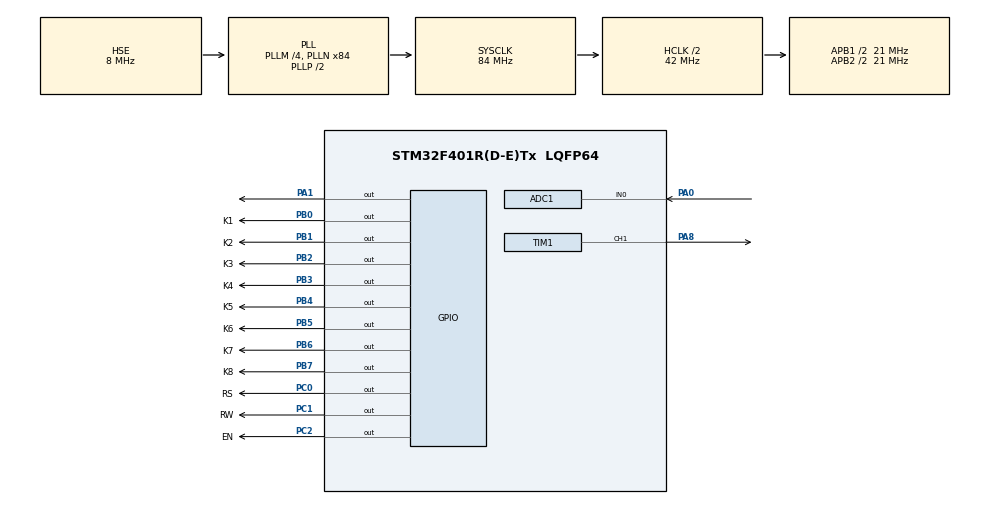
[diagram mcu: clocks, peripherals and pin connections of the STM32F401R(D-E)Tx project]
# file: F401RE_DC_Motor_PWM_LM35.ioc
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ADC1.Channel-0\#ChannelRegularConversion=ADC_CHANNEL_0
ADC1.ClockPrescaler=ADC_CLOCK_SYNC_PCLK_DIV4
ADC1.NbrOfConversionFlag=1
ADC1.Rank-0\#ChannelRegularConversion=1
ADC1.SamplingTime-0\#ChannelRegularConversion=ADC_SAMPLETIME_3CYCLES
ADC1.master=1
Mcu.Family=STM32F4
Mcu.Name=STM32F401R(D-E)Tx
Mcu.Package=LQFP64
NVIC.PriorityGroup=NVIC_PRIORITYGROUP_0
PA0-WKUP.Signal=ADCx_IN0
PA1.Signal=GPIO_Output
PA13.Mode=Serial_Wire
PA13.Signal=SYS_JTMS-SWDIO
PA14.Mode=Serial_Wire
PA14.Signal=SYS_JTCK-SWCLK
PA8.Signal=S_TIM1_CH1
PB0.GPIO_Label=K1
PB0.Signal=GPIO_Output
PB1.GPIO_Label=K2
PB1.Signal=GPIO_Output
PB2.GPIO_Label=K3
PB2.Signal=GPIO_Output
PB3.GPIO_Label=K4
PB3.Signal=GPIO_Output
PB4.GPIO_Label=K5
PB4.Signal=GPIO_Output
PB5.GPIO_Label=K6
PB5.Signal=GPIO_Output
PB6.GPIO_Label=K7
PB6.Signal=GPIO_Output
PB7.GPIO_Label=K8
PB7.Signal=GPIO_Output
PC0.GPIO_Label=RS
PC0.Signal=GPIO_Output
PC1.GPIO_Label=RW
PC1.Signal=GPIO_Output
PC2.GPIO_Label=EN
PC2.Signal=GPIO_Output
PH0\ -\ OSC_IN.Mode=HSE-External-Oscillator
PH0\ -\ OSC_IN.Signal=RCC_OSC_IN
PH1\ -\ OSC_OUT.Mode=HSE-External-Oscillator
PH1\ -\ OSC_OUT.Signal=RCC_OSC_OUT
ProjectManager.HeapSize=0x200
ProjectManager.StackSize=0x400
ProjectManager.TargetToolchain=STM32CubeIDE
RCC.48MHZClocksFreq_Value=24000000
RCC.AHBCLKDivider=RCC_SYSCLK_DIV2
RCC.AHBFreq_Value=42000000
RCC.APB1CLKDivider=RCC_HCLK_DIV2
RCC.APB1Freq_Value=21000000
RCC.APB1TimFreq_Value=42000000
RCC.APB2CLKDivider=RCC_HCLK_DIV2
RCC.APB2Freq_Value=21000000
RCC.APB2TimFreq_Value=42000000
RCC.CortexFreq_Value=42000000
RCC.HCLKFreq_Value=42000000
RCC.HSE_VALUE=8000000
RCC.HSI_VALUE=16000000
RCC.LSE_VALUE=32768
RCC.PLLM=4
RCC.PLLN=84
RCC.PLLQ=7
RCC.PLLSourceVirtual=RCC_PLLSOURCE_HSE
RCC.SYSCLKFreq_VALUE=84000000
RCC.SYSCLKSource=RCC_SYSCLKSOURCE_PLLCLK
RCC.VCOOutputFreq_Value=168000000
SH.ADCx_IN0.0=ADC1_IN0,IN0
SH.S_TIM1_CH1.0=TIM1_CH1,PWM Generation1 CH1
TIM1.Channel-PWM\ Generation1\ CH1=TIM_CHANNEL_1
TIM1.OCFastMode_PWM-PWM\ Generation1\ CH1=TIM_OCFAST_DISABLE
TIM1.OCPolarity_1=TIM_OCPOLARITY_LOW
TIM1.Period=50000-1
TIM1.Prescaler=42-1
VP_TIM1_VS_ClockSourceINT.Mode=Internal
board=NUCLEO-F401RE

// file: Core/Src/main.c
/* USER CODE BEGIN Header */
/**
  ******************************************************************************
  * @file           : main.c
  * @brief          : Main program body
  ******************************************************************************
  * @attention
  *
  * Copyright (c) 2025 STMicroelectronics.
  * All rights reserved.
  *
  * This software is licensed under terms that can be found in the LICENSE file
  * in the root directory of this software component.
  * If no LICENSE file comes with this software, it is provided AS-IS.
  *
  ******************************************************************************
  */
/* USER CODE END Header */
#include "main.h"

/* USER CODE BEGIN Includes */

#include "stdio.h"

/* USER CODE END Includes */

ADC_HandleTypeDef hadc1;

TIM_HandleTypeDef htim1;

/* USER CODE BEGIN PV */

uint8_t Pin[] = {K1_Pin,K2_Pin,K3_Pin,K4_Pin,K5_Pin,K6_Pin,K7_Pin,K8_Pin};

int i = 0;
int j = 0;

uint16_t ADC_Value = 0;

char Temp[10];

uint16_t T;

float speed ;

/* USER CODE END PV */

void SystemClock_Config(void);
static void MX_GPIO_Init(void);
static void MX_ADC1_Init(void);
static void MX_TIM1_Init(void);
/* USER CODE BEGIN PFP */

void Data_Write(uint8_t data);
void LCD_Command(uint8_t command);
void LCD_Data(uint8_t data);
void LCD_Initialize();
void LCD_Location(uint8_t Row,uint8_t Col);
void LCD_String(const char*ptr);

/* USER CODE END PFP */

int main(void)
{

  /* MCU Configuration--------------------------------------------------------*/

  /* Reset of all peripherals, Initializes the Flash interface and the Systick. */
  HAL_Init();

  /* Configure the system clock */
  SystemClock_Config();

  /* Initialize all configured peripherals */
  MX_GPIO_Init();
  MX_ADC1_Init();
  MX_TIM1_Init();
  /* USER CODE BEGIN 2 */

  LCD_Initialize();

	  LCD_Location(1,0);
	  LCD_String("Temp =      ");
	  LCD_Location(1,14);
	  LCD_Data(0xDF);
	  LCD_Location(1,15);
	  LCD_Data('C');

  HAL_GPIO_WritePin(GPIOA, GPIO_PIN_1, SET);

  void Motor_Speed(float Duty_Cycle)
  {
	  HAL_TIM_PWM_Start(&htim1,TIM_CHANNEL_1);
	  __HAL_TIM_SET_COMPARE(&htim1,TIM_CHANNEL_1 ,Duty_Cycle * __HAL_TIM_GET_AUTORELOAD(&htim1));
  }

  /* USER CODE END 2 */

  /* Infinite loop */
  /* USER CODE BEGIN WHILE */
  while (1)
  {

	 HAL_ADC_Start(&hadc1);
		  if(HAL_ADC_PollForConversion(&hadc1, HAL_MAX_DELAY)==HAL_OK)
		  {
			  ADC_Value=(HAL_ADC_GetValue(&hadc1) * 3.33333);
		  }
	 HAL_ADC_Stop(&hadc1);

		  T = (ADC_Value * 0.03663);  //SCALED READING FROM 0 TO 150 C (150/4095 = 0.03663)
		  sprintf(Temp,"%03d", T);
				  LCD_Location(1,11);
				  LCD_String(Temp);

	if(T<30)
	{
		speed = 0;
		LCD_Location(2,0);
		LCD_String("                ");
	}
	else if (T>=30 && T < 35)
	{
		speed = 0.25 ;
		LCD_Location(2,0);
	    LCD_String("  Temp Intact.  ");
	}
	else if (T>=35 && T < 40)
	{
		speed = 0.5 ;
		LCD_Location(2,0);
		LCD_String("  Temp   High.  ");
	}
	else if (T>=40 && T < 45)
	{
		speed = 0.75 ;
		LCD_Location(2,0);
	    LCD_String("  Temp   High.  ");
	}
	else if (T >= 45)
	{
		speed = 0.8;
	 	LCD_Location(2,0);
	 	LCD_String(" Temp too High. ");
	}

	Motor_Speed(speed);

	//Motor_Speed(speed);
	 /*HAL_TIM_PWM_Start(&htim2,TIM_CHANNEL_1);
	 //__HAL_TIM_SET_COMPARE(&htim1,TIM_CHANNEL_1 ,0.8 * __HAL_TIM_GET_AUTORELOAD(&htim1));
     TIM2 -> CCR1 = 0.8 * 50000 ;  */

    /* USER CODE END WHILE */

  }
}

void SystemClock_Config(void)
{
  RCC_OscInitTypeDef RCC_OscInitStruct = {0};
  RCC_ClkInitTypeDef RCC_ClkInitStruct = {0};

  /** Configure the main internal regulator output voltage
  */
  __HAL_RCC_PWR_CLK_ENABLE();
  __HAL_PWR_VOLTAGESCALING_CONFIG(PWR_REGULATOR_VOLTAGE_SCALE2);

  /** Initializes the RCC Oscillators according to the specified parameters
  * in the RCC_OscInitTypeDef structure.
  */
  RCC_OscInitStruct.OscillatorType = RCC_OSCILLATORTYPE_HSE;
  RCC_OscInitStruct.HSEState = RCC_HSE_ON;
  RCC_OscInitStruct.PLL.PLLState = RCC_PLL_ON;
  RCC_OscInitStruct.PLL.PLLSource = RCC_PLLSOURCE_HSE;
  RCC_OscInitStruct.PLL.PLLM = 4;
  RCC_OscInitStruct.PLL.PLLN = 84;
  RCC_OscInitStruct.PLL.PLLP = RCC_PLLP_DIV2;
  RCC_OscInitStruct.PLL.PLLQ = 7;
  if (HAL_RCC_OscConfig(&RCC_OscInitStruct) != HAL_OK)
  {
    Error_Handler();
  }

  /** Initializes the CPU, AHB and APB buses clocks
  */
  RCC_ClkInitStruct.ClockType = RCC_CLOCKTYPE_HCLK|RCC_CLOCKTYPE_SYSCLK
                              |RCC_CLOCKTYPE_PCLK1|RCC_CLOCKTYPE_PCLK2;
  RCC_ClkInitStruct.SYSCLKSource = RCC_SYSCLKSOURCE_PLLCLK;
  RCC_ClkInitStruct.AHBCLKDivider = RCC_SYSCLK_DIV2;
  RCC_ClkInitStruct.APB1CLKDivider = RCC_HCLK_DIV2;
  RCC_ClkInitStruct.APB2CLKDivider = RCC_HCLK_DIV2;

  if (HAL_RCC_ClockConfig(&RCC_ClkInitStruct, FLASH_LATENCY_1) != HAL_OK)
  {
    Error_Handler();
  }
}

static void MX_ADC1_Init(void)
{

  ADC_ChannelConfTypeDef sConfig = {0};

  /** Configure the global features of the ADC (Clock, Resolution, Data Alignment and number of conversion)
  */
  hadc1.Instance = ADC1;
  hadc1.Init.ClockPrescaler = ADC_CLOCK_SYNC_PCLK_DIV4;
  hadc1.Init.Resolution = ADC_RESOLUTION_12B;
  hadc1.Init.ScanConvMode = DISABLE;
  hadc1.Init.ContinuousConvMode = DISABLE;
  hadc1.Init.DiscontinuousConvMode = DISABLE;
  hadc1.Init.ExternalTrigConvEdge = ADC_EXTERNALTRIGCONVEDGE_NONE;
  hadc1.Init.ExternalTrigConv = ADC_SOFTWARE_START;
  hadc1.Init.DataAlign = ADC_DATAALIGN_RIGHT;
  hadc1.Init.NbrOfConversion = 1;
  hadc1.Init.DMAContinuousRequests = DISABLE;
  hadc1.Init.EOCSelection = ADC_EOC_SINGLE_CONV;
  if (HAL_ADC_Init(&hadc1) != HAL_OK)
  {
    Error_Handler();
  }

  /** Configure for the selected ADC regular channel its corresponding rank in the sequencer and its sample time.
  */
  sConfig.Channel = ADC_CHANNEL_0;
  sConfig.Rank = 1;
  sConfig.SamplingTime = ADC_SAMPLETIME_3CYCLES;
  if (HAL_ADC_ConfigChannel(&hadc1, &sConfig) != HAL_OK)
  {
    Error_Handler();
  }

}

static void MX_TIM1_Init(void)
{

  TIM_ClockConfigTypeDef sClockSourceConfig = {0};
  TIM_MasterConfigTypeDef sMasterConfig = {0};
  TIM_OC_InitTypeDef sConfigOC = {0};
  TIM_BreakDeadTimeConfigTypeDef sBreakDeadTimeConfig = {0};

  htim1.Instance = TIM1;
  htim1.Init.Prescaler = 42-1;
  htim1.Init.CounterMode = TIM_COUNTERMODE_UP;
  htim1.Init.Period = 50000-1;
  htim1.Init.ClockDivision = TIM_CLOCKDIVISION_DIV1;
  htim1.Init.RepetitionCounter = 0;
  htim1.Init.AutoReloadPreload = TIM_AUTORELOAD_PRELOAD_DISABLE;
  if (HAL_TIM_Base_Init(&htim1) != HAL_OK)
  {
    Error_Handler();
  }
  sClockSourceConfig.ClockSource = TIM_CLOCKSOURCE_INTERNAL;
  if (HAL_TIM_ConfigClockSource(&htim1, &sClockSourceConfig) != HAL_OK)
  {
    Error_Handler();
  }
  if (HAL_TIM_PWM_Init(&htim1) != HAL_OK)
  {
    Error_Handler();
  }
  sMasterConfig.MasterOutputTrigger = TIM_TRGO_RESET;
  sMasterConfig.MasterSlaveMode = TIM_MASTERSLAVEMODE_DISABLE;
  if (HAL_TIMEx_MasterConfigSynchronization(&htim1, &sMasterConfig) != HAL_OK)
  {
    Error_Handler();
  }
  sConfigOC.OCMode = TIM_OCMODE_PWM1;
  sConfigOC.Pulse = 0;
  sConfigOC.OCPolarity = TIM_OCPOLARITY_LOW;
  sConfigOC.OCNPolarity = TIM_OCNPOLARITY_HIGH;
  sConfigOC.OCFastMode = TIM_OCFAST_DISABLE;
  sConfigOC.OCIdleState = TIM_OCIDLESTATE_RESET;
  sConfigOC.OCNIdleState = TIM_OCNIDLESTATE_RESET;
  if (HAL_TIM_PWM_ConfigChannel(&htim1, &sConfigOC, TIM_CHANNEL_1) != HAL_OK)
  {
    Error_Handler();
  }
  sBreakDeadTimeConfig.OffStateRunMode = TIM_OSSR_DISABLE;
  sBreakDeadTimeConfig.OffStateIDLEMode = TIM_OSSI_DISABLE;
  sBreakDeadTimeConfig.LockLevel = TIM_LOCKLEVEL_OFF;
  sBreakDeadTimeConfig.DeadTime = 0;
  sBreakDeadTimeConfig.BreakState = TIM_BREAK_DISABLE;
  sBreakDeadTimeConfig.BreakPolarity = TIM_BREAKPOLARITY_HIGH;
  sBreakDeadTimeConfig.AutomaticOutput = TIM_AUTOMATICOUTPUT_DISABLE;
  if (HAL_TIMEx_ConfigBreakDeadTime(&htim1, &sBreakDeadTimeConfig) != HAL_OK)
  {
    Error_Handler();
  }
  HAL_TIM_MspPostInit(&htim1);

}

static void MX_GPIO_Init(void)
{
  GPIO_InitTypeDef GPIO_InitStruct = {0};

  /* GPIO Ports Clock Enable */
  __HAL_RCC_GPIOH_CLK_ENABLE();
  __HAL_RCC_GPIOC_CLK_ENABLE();
  __HAL_RCC_GPIOA_CLK_ENABLE();
  __HAL_RCC_GPIOB_CLK_ENABLE();

  /*Configure GPIO pin Output Level */
  HAL_GPIO_WritePin(GPIOC, RS_Pin|RW_Pin|EN_Pin, GPIO_PIN_RESET);

  /*Configure GPIO pin Output Level */
  HAL_GPIO_WritePin(GPIOA, GPIO_PIN_1, GPIO_PIN_RESET);

  /*Configure GPIO pin Output Level */
  HAL_GPIO_WritePin(GPIOB, K1_Pin|K2_Pin|K3_Pin|K4_Pin
                          |K5_Pin|K6_Pin|K7_Pin|K8_Pin, GPIO_PIN_RESET);

  /*Configure GPIO pins : RS_Pin RW_Pin EN_Pin */
  GPIO_InitStruct.Pin = RS_Pin|RW_Pin|EN_Pin;
  GPIO_InitStruct.Mode = GPIO_MODE_OUTPUT_PP;
  GPIO_InitStruct.Pull = GPIO_NOPULL;
  GPIO_InitStruct.Speed = GPIO_SPEED_FREQ_LOW;
  HAL_GPIO_Init(GPIOC, &GPIO_InitStruct);

  /*Configure GPIO pin : PA1 */
  GPIO_InitStruct.Pin = GPIO_PIN_1;
  GPIO_InitStruct.Mode = GPIO_MODE_OUTPUT_PP;
  GPIO_InitStruct.Pull = GPIO_NOPULL;
  GPIO_InitStruct.Speed = GPIO_SPEED_FREQ_LOW;
  HAL_GPIO_Init(GPIOA, &GPIO_InitStruct);

  /*Configure GPIO pins : K1_Pin K2_Pin K3_Pin K4_Pin
                           K5_Pin K6_Pin K7_Pin K8_Pin */
  GPIO_InitStruct.Pin = K1_Pin|K2_Pin|K3_Pin|K4_Pin
                          |K5_Pin|K6_Pin|K7_Pin|K8_Pin;
  GPIO_InitStruct.Mode = GPIO_MODE_OUTPUT_PP;
  GPIO_InitStruct.Pull = GPIO_NOPULL;
  GPIO_InitStruct.Speed = GPIO_SPEED_FREQ_LOW;
  HAL_GPIO_Init(GPIOB, &GPIO_InitStruct);

}

/* USER CODE BEGIN 4 */

void Data_Write(uint8_t data)
{
	for(i=0;i<8;i++)
	{
		HAL_GPIO_WritePin(GPIOB,Pin[i],((data>>i)&0x01)?1:0);
	}
}

void LCD_Command(uint8_t command)
{
	HAL_GPIO_WritePin(GPIOC, RS_Pin, RESET);
	HAL_GPIO_WritePin(GPIOC, RW_Pin, RESET);
	Data_Write(command);
	HAL_GPIO_WritePin(GPIOC, EN_Pin, RESET);
	HAL_Delay(5);
	HAL_GPIO_WritePin(GPIOC, EN_Pin, SET);
	HAL_Delay(5);
}

void LCD_Data(uint8_t data)
{
	HAL_GPIO_WritePin(GPIOC, RS_Pin, SET);
	HAL_GPIO_WritePin(GPIOC, RW_Pin, RESET);
	Data_Write(data);
	HAL_GPIO_WritePin(GPIOC, EN_Pin, RESET);
	HAL_Delay(5);
	HAL_GPIO_WritePin(GPIOC, EN_Pin, SET);
	HAL_Delay(5);
}

void LCD_Initialize()
{
	LCD_Command(0x01);
	LCD_Command(0x02);
	LCD_Command(0x06);
	LCD_Command(0x38);
	LCD_Command(0x0c);
}

void LCD_Location(uint8_t Row,uint8_t Col)
{
	if(Row==2)
	{
		LCD_Command(0xC0|Col);
	}
	else
	{
		LCD_Command(0x80|Col);
	}
}

void LCD_String(const char*ptr)
{
	while(*ptr!= '\0')
	{
		LCD_Data(*ptr++);
	}
}

/* USER CODE END 4 */

void Error_Handler(void)
{
  __disable_irq();
  while (1)
  {
  }
}
